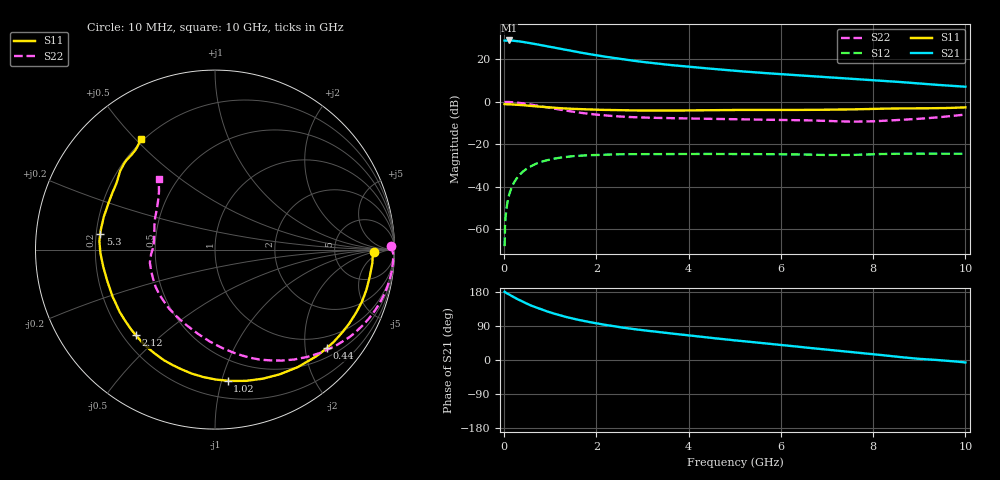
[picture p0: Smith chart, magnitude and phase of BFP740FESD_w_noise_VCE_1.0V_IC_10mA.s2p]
! Infineon Technologies  Discrete & RF Semiconductors
! BFP740FESD
! VCE =  1.0 V,  IC =  10 mA
! Common Emitter S-Parameters:  Jan 2016
# GHz  S  MA  R  50
!  f  S11  S21  S12  S22
! GHz  MAG  ANG  MAG  ANG  MAG  ANG  MAG  ANG
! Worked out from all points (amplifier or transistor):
!   233 points, 10 MHz to 10 GHz, reference 50 ohm
!   highest |S21| = 28.9 dB at 100 MHz (marker M1)
!   |S21| within 3 dB of that: start of sweep to 993.9 MHz
!   unconditionally stable (mu >= 1): 6.472 GHz to end of sweep
!   at 200 MHz: K = 0.04, MSG = 33.7 dB, |S12| = -38.6 dB
!   at 1.74 GHz: K = 0.30, MSG = 24.1 dB, |S12| = -25.2 dB
!   at 10 GHz: K = 1.38, MAG = 12.1 dB, |S12| = -24.4 dB
!   lowest NFmin = 0.61 dB at 450 MHz
!   S11 on the Smith chart (normalised r, x): 10 MHz: 16, -2; 440 MHz: 0.70, -2.47; 1.02 GHz: 0.33, -1.05; 2.12 GHz: 0.25, -0.41; 5.3 GHz: 0.22, +0.06; 10 GHz: 0.19, +0.52
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0.01  0.8858 -0.7  27.71 180.0  0.0004 109.2  0.9788 1.1
0.03  0.8796 -2.9  27.79 178.1  0.0019 92.5  0.9934 -1.9
0.1  0.8757 -9.8  27.94 173.5  0.006 84.0  0.9924 -6.9
0.2  0.8687 -19.6  27.56 166.6  0.0118 79.1  0.9779 -14.0
0.28  0.8559 -27.1  26.93 161.2  0.0162 75.0  0.9595 -19.3
0.44  0.8299 -41.4  25.48 151.7  0.0243 67.2  0.9132 -29.5
0.6  0.801 -54.8  23.82 142.9  0.0314 60.1  0.8583 -38.8
0.7  0.7829 -62.6  22.77 138.2  0.0352 56.1  0.8238 -44.2
0.9  0.7515 -76.7  20.7 129.4  0.0415 48.8  0.7549 -54.2
1.02  0.7337 -84.5  19.53 124.8  0.0446 45.0  0.7149 -59.8
1.2  0.7131 -95.2  17.91 118.2  0.0483 39.9  0.661 -67.9
1.38  0.6942 -104.7  16.42 112.4  0.0511 35.4  0.6126 -75.1
1.68  0.673 -117.9  14.34 104.2  0.0543 29.4  0.5496 -85.8
2.12  0.6492 -132.9  11.92 94.3  0.0571 22.9  0.4874 -99.0
2.6  0.6354 -146.4  9.984 85.0  0.0585 17.4  0.4465 -112.0
3.4  0.6247 -162.1  7.789 73.1  0.0589 12.0  0.4181 -126.4
4.5  0.6387 -178.2  6.013 58.1  0.0595 7.4  0.3982 -141.3
5.1  0.6454 174.7  5.286 50.7  0.0589 5.5  0.3888 -149.0
5.3  0.645 172.4  5.084 48.3  0.0588 5.0  0.3855 -151.4
6.8  0.6501 153.4  3.936 29.8  0.0567 2.4  0.3615 -173.0
8.4  0.6976 136.5  3.035 10.1  0.0599 4.1  0.3669 156.8
10  0.7411 123.6  2.272 -6.4  0.0601 1.3  0.5028 128.6
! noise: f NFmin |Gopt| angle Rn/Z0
0.45  0.61  0.23  4  0.1
2.4  0.67  0.14  49  0.1
5.5  0.83  0.3  138  0.07
10  1.41  0.39  -135  0.13
